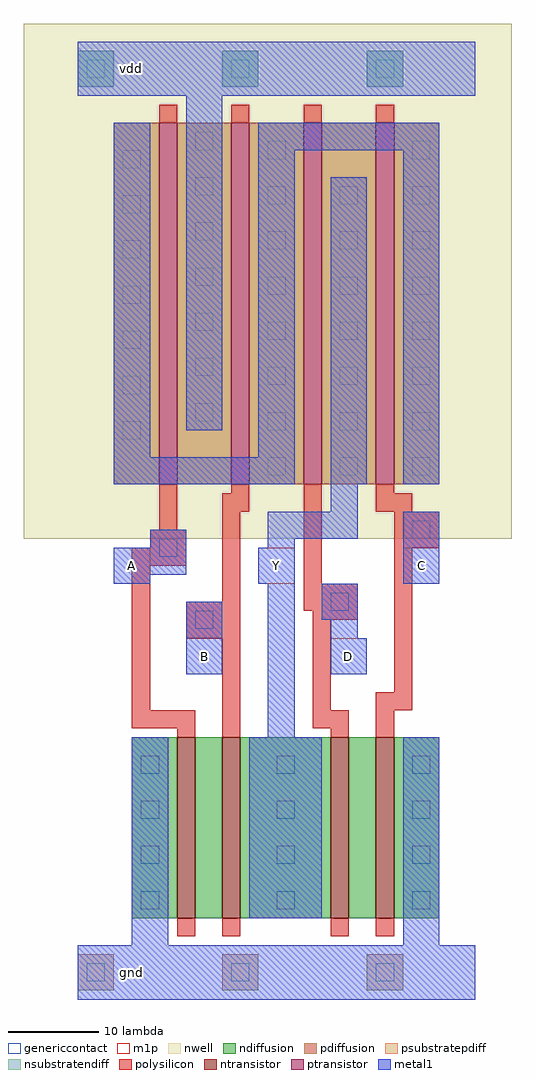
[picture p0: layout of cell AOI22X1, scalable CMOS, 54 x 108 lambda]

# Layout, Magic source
magic
tech scmos
<< nwell >>
rect -8 48 46 105
<< ntransistor >>
rect 9 6 11 26
rect 14 6 16 26
rect 26 6 28 26
rect 31 6 33 26
<< ptransistor >>
rect 7 54 9 94
rect 15 54 17 94
rect 23 54 25 94
rect 31 54 33 94
<< ndiffusion >>
rect 4 6 9 26
rect 11 6 14 26
rect 16 6 26 26
rect 28 6 31 26
rect 33 6 38 26
<< pdiffusion >>
rect 2 54 7 94
rect 9 54 15 94
rect 17 54 23 94
rect 25 54 31 94
rect 33 54 38 94
<< psubstratepdiff >>
rect -2 -2 2 2
rect 14 -2 18 2
rect 30 -2 34 2
<< nsubstratendiff >>
rect -2 98 2 102
rect 14 98 18 102
rect 30 98 34 102
<< polysilicon >>
rect 7 94 9 96
rect 15 94 17 96
rect 23 94 25 96
rect 31 94 33 96
rect 7 49 9 54
rect 15 53 17 54
rect 14 51 17 53
rect 6 47 10 49
rect 4 45 10 47
rect 4 29 6 45
rect 14 41 16 51
rect 10 37 16 41
rect 23 43 25 54
rect 31 53 33 54
rect 31 51 35 53
rect 33 47 38 51
rect 23 40 29 43
rect 4 27 11 29
rect 9 26 11 27
rect 14 26 16 37
rect 24 39 29 40
rect 24 29 26 39
rect 33 31 35 47
rect 31 29 35 31
rect 24 27 28 29
rect 26 26 28 27
rect 31 26 33 29
rect 9 4 11 6
rect 14 4 16 6
rect 26 4 28 6
rect 31 4 33 6
<< genericcontact >>
rect -1 99 1 101
rect 15 99 17 101
rect 31 99 33 101
rect 11 91 13 93
rect 3 89 5 91
rect 19 90 21 92
rect 35 90 37 92
rect 11 86 13 88
rect 3 84 5 86
rect 19 85 21 87
rect 27 85 29 87
rect 35 85 37 87
rect 11 81 13 83
rect 3 79 5 81
rect 19 80 21 82
rect 27 80 29 82
rect 35 80 37 82
rect 11 76 13 78
rect 3 74 5 76
rect 19 75 21 77
rect 27 75 29 77
rect 35 75 37 77
rect 11 71 13 73
rect 3 69 5 71
rect 19 70 21 72
rect 27 70 29 72
rect 35 70 37 72
rect 11 66 13 68
rect 3 64 5 66
rect 19 65 21 67
rect 27 65 29 67
rect 35 65 37 67
rect 11 61 13 63
rect 3 59 5 61
rect 19 60 21 62
rect 27 60 29 62
rect 35 60 37 62
rect 19 55 21 57
rect 27 55 29 57
rect 35 55 37 57
rect 35 48 37 50
rect 7 46 9 48
rect 26 40 28 42
rect 11 38 13 40
rect 5 22 7 24
rect 20 22 22 24
rect 35 22 37 24
rect 5 17 7 19
rect 20 17 22 19
rect 35 17 37 19
rect 5 12 7 14
rect 20 12 22 14
rect 35 12 37 14
rect 5 7 7 9
rect 20 7 22 9
rect 35 7 37 9
rect -1 -1 1 1
rect 15 -1 17 1
rect 31 -1 33 1
<< metal1 >>
rect -2 97 42 103
rect 2 57 6 94
rect 10 60 14 97
rect 18 91 38 94
rect 18 57 22 91
rect 2 54 22 57
rect 26 54 30 88
rect 34 54 38 91
rect 26 51 29 54
rect 6 47 10 49
rect 19 48 29 51
rect 19 47 22 48
rect 2 44 10 47
rect 2 43 6 44
rect 18 43 22 47
rect 34 43 38 51
rect 10 33 14 41
rect 19 26 22 43
rect 25 39 29 43
rect 26 37 29 39
rect 26 33 30 37
rect 4 3 8 26
rect 17 6 25 26
rect 34 3 38 26
rect -2 -3 42 3
<< m1p >>
rect 2 43 6 47
rect 18 43 22 47
rect 34 43 38 47
rect 10 33 14 37
rect 26 33 30 37
<< labels >>
rlabel metal1 4 0 4 0 8 gnd
rlabel metal1 4 100 4 100 6 vdd
rlabel metal1 36 45 36 45 6 C
rlabel metal1 28 35 28 35 6 D
rlabel metal1 20 45 20 45 6 Y
rlabel metal1 4 45 4 45 6 A
rlabel metal1 12 35 12 35 6 B
<< end >>
